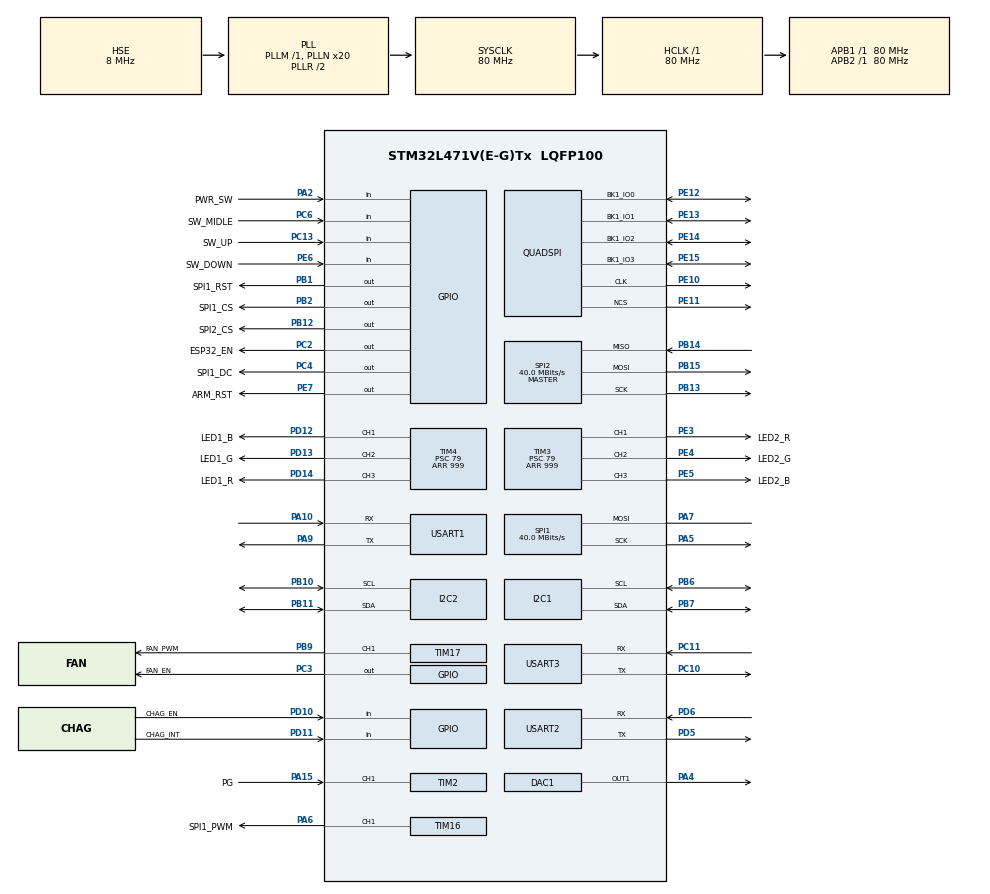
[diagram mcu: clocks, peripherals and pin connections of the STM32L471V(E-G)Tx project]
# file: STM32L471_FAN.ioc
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Dma.Request0=USART2_RX
Dma.Request1=SPI1_TX
Dma.SPI1_TX.1.Direction=DMA_MEMORY_TO_PERIPH
Dma.SPI1_TX.1.Instance=DMA1_Channel3
Dma.SPI1_TX.1.MemDataAlignment=DMA_MDATAALIGN_BYTE
Dma.SPI1_TX.1.MemInc=DMA_MINC_ENABLE
Dma.SPI1_TX.1.Mode=DMA_NORMAL
Dma.SPI1_TX.1.PeriphDataAlignment=DMA_PDATAALIGN_BYTE
Dma.SPI1_TX.1.PeriphInc=DMA_PINC_DISABLE
Dma.SPI1_TX.1.Priority=DMA_PRIORITY_LOW
Dma.USART2_RX.0.Direction=DMA_PERIPH_TO_MEMORY
Dma.USART2_RX.0.Instance=DMA1_Channel6
Dma.USART2_RX.0.MemDataAlignment=DMA_MDATAALIGN_BYTE
Dma.USART2_RX.0.MemInc=DMA_MINC_ENABLE
Dma.USART2_RX.0.Mode=DMA_CIRCULAR
Dma.USART2_RX.0.PeriphDataAlignment=DMA_PDATAALIGN_BYTE
Dma.USART2_RX.0.PeriphInc=DMA_PINC_DISABLE
Dma.USART2_RX.0.Priority=DMA_PRIORITY_HIGH
I2C1.Timing=0x10D1193B
I2C2.Timing=0x10D1193B
LPTIM1.ClockPrescaler=LPTIM_PRESCALER_DIV128
Mcu.Family=STM32L4
Mcu.Name=STM32L471V(E-G)Tx
Mcu.Package=LQFP100
NVIC.DMA1_Channel3_IRQn=true\:6\:0\:true\:false\:true\:false\:true\:true
NVIC.DMA1_Channel6_IRQn=true\:5\:0\:true\:false\:true\:false\:true\:true
QUADSPI.ChipSelectHighTime=QSPI_CS_HIGH_TIME_4_CYCLE
QUADSPI.ClockPrescaler=1
QUADSPI.FifoThreshold=4
QUADSPI.FlashSize=22
QUADSPI.SampleShifting=QSPI_SAMPLE_SHIFTING_HALFCYCLE
NVIC.LPTIM1_IRQn=true\:5\:0\:true\:false\:true\:true\:true\:true
NVIC.PriorityGroup=NVIC_PRIORITYGROUP_4
NVIC.SPI1_IRQn=true\:5\:0\:true\:false\:true\:true\:true\:true
NVIC.TIM1_TRG_COM_TIM17_IRQn=true\:5\:0\:true\:false\:true\:true\:true\:true
NVIC.TIM1_UP_TIM16_IRQn=true\:5\:0\:true\:false\:true\:true\:true\:true
NVIC.TIM2_IRQn=true\:5\:0\:true\:false\:true\:true\:true\:true
NVIC.TIM6_DAC_IRQn=true\:5\:0\:true\:false\:true\:true\:true\:true
NVIC.TimeBase=TIM6_DAC_IRQn
NVIC.TimeBaseIP=TIM6
NVIC.USART2_IRQn=true\:5\:0\:true\:false\:true\:true\:true\:true
PA0.Mode=SYS_WakeUp0
PA0.Signal=SYS_WKUP1
PA10.GPIO_PuPd=GPIO_PULLUP
PA10.Mode=Asynchronous
PA10.Signal=USART1_RX
PA13\ (JTMS-SWDIO).Mode=Serial_Wire
PA13\ (JTMS-SWDIO).Signal=SYS_JTMS-SWDIO
PA14\ (JTCK-SWCLK).Mode=Serial_Wire
PA14\ (JTCK-SWCLK).Signal=SYS_JTCK-SWCLK
PA15\ (JTDI).GPIO_Label=PG
PA15\ (JTDI).GPIO_Speed=GPIO_SPEED_FREQ_MEDIUM
PA15\ (JTDI).Signal=S_TIM2_CH1
PA2.GPIO_Label=PWR_SW
PA2.GPIO_PuPd=GPIO_PULLUP
PA2.Signal=GPIO_Input
PA4.Signal=COMP_DAC11_group
PA5.Mode=Simplex_Bidirectional_Master
PA5.Signal=SPI1_SCK
PA6.GPIO_Label=SPI1_PWM
PA6.Signal=S_TIM16_CH1
PA7.Mode=Simplex_Bidirectional_Master
PA7.Signal=SPI1_MOSI
PA9.Mode=Asynchronous
PA9.Signal=USART1_TX
PB1.GPIO_Label=SPI1_RST
PB1.GPIO_Speed=GPIO_SPEED_FREQ_HIGH
PB1.PinState=GPIO_PIN_SET
PB1.Signal=GPIO_Output
PB10.Mode=I2C
PB10.Signal=I2C2_SCL
PB11.Mode=I2C
PB11.Signal=I2C2_SDA
PB12.GPIO_Label=SPI2_CS
PB12.PinState=GPIO_PIN_SET
PB12.Signal=GPIO_Output
PB13.Mode=Full_Duplex_Master
PB13.Signal=SPI2_SCK
PB14.Mode=Full_Duplex_Master
PB14.Signal=SPI2_MISO
PB15.Mode=Full_Duplex_Master
PB15.Signal=SPI2_MOSI
PB2.GPIO_Label=SPI1_CS
PB2.GPIO_Speed=GPIO_SPEED_FREQ_HIGH
PB2.PinState=GPIO_PIN_SET
PB2.Signal=GPIO_Output
PB6.Mode=I2C
PB6.Signal=I2C1_SCL
PB7.Mode=I2C
PB7.Signal=I2C1_SDA
PB9.GPIO_Label=FAN_PWM
PB9.GPIO_Speed=GPIO_SPEED_FREQ_MEDIUM
PB9.Signal=S_TIM17_CH1
PC10.Mode=Asynchronous
PC10.Signal=USART3_TX
PC11.GPIO_PuPd=GPIO_PULLUP
PC11.Mode=Asynchronous
PC11.Signal=USART3_RX
PC13.GPIO_Label=SW_UP
PC13.GPIO_PuPd=GPIO_PULLUP
PC13.Signal=GPIO_Input
PC14-OSC32_IN\ (PC14).Mode=LSE-External-Oscillator
PC14-OSC32_IN\ (PC14).Signal=RCC_OSC32_IN
PC15-OSC32_OUT\ (PC15).Mode=LSE-External-Oscillator
PC15-OSC32_OUT\ (PC15).Signal=RCC_OSC32_OUT
PC2.GPIO_Label=ESP32_EN
PC2.GPIO_PuPd=GPIO_NOPULL
PC2.PinState=GPIO_PIN_SET
PC2.Signal=GPIO_Output
PC3.GPIO_Label=FAN_EN
PC3.PinState=GPIO_PIN_SET
PC3.Signal=GPIO_Output
PC4.GPIO_Label=SPI1_DC
PC4.GPIO_Speed=GPIO_SPEED_FREQ_HIGH
PC4.PinState=GPIO_PIN_SET
PC4.Signal=GPIO_Output
PC6.GPIO_Label=SW_MIDLE
PC6.GPIO_PuPd=GPIO_PULLUP
PC6.Signal=GPIO_Input
PD10.GPIO_Label=CHAG_EN
PD10.Signal=GPIO_Input
PD11.GPIO_Label=CHAG_INT
PD11.Signal=GPIO_Input
PD12.GPIO_Label=LED1_B
PD12.Signal=S_TIM4_CH1
PD13.GPIO_Label=LED1_G
PD13.Signal=S_TIM4_CH2
PD14.GPIO_Label=LED1_R
PD14.Signal=S_TIM4_CH3
PD5.Mode=Asynchronous
PD5.Signal=USART2_TX
PD6.GPIO_PuPd=GPIO_PULLUP
PD6.Mode=Asynchronous
PD6.Signal=USART2_RX
PE10.Mode=Single Bank
PE10.Signal=QUADSPI_CLK
PE11.Mode=Single Bank
PE11.Signal=QUADSPI_NCS
PE12.Mode=Single Bank
PE12.Signal=QUADSPI_BK1_IO0
PE13.Mode=Single Bank
PE13.Signal=QUADSPI_BK1_IO1
PE14.Mode=Single Bank
PE14.Signal=QUADSPI_BK1_IO2
PE15.Mode=Single Bank
PE15.Signal=QUADSPI_BK1_IO3
PE3.GPIO_Label=LED2_R
PE3.Signal=S_TIM3_CH1
PE4.GPIO_Label=LED2_G
PE4.Signal=S_TIM3_CH2
PE5.GPIO_Label=LED2_B
PE5.Signal=S_TIM3_CH3
PE6.GPIO_Label=SW_DOWN
PE6.GPIO_PuPd=GPIO_PULLUP
PE6.Signal=GPIO_Input
PE7.GPIO_Label=ARM_RST
PE7.Signal=GPIO_Output
PH0-OSC_IN\ (PH0).Mode=HSE-External-Oscillator
PH0-OSC_IN\ (PH0).Signal=RCC_OSC_IN
PH1-OSC_OUT\ (PH1).Mode=HSE-External-Oscillator
PH1-OSC_OUT\ (PH1).Signal=RCC_OSC_OUT
ProjectManager.HeapSize=0x1000
ProjectManager.StackSize=0x800
ProjectManager.TargetToolchain=MDK-ARM V5.32
RCC.ADCFreq_Value=64000000
RCC.AHBFreq_Value=80000000
RCC.APB1Freq_Value=80000000
RCC.APB1TimFreq_Value=80000000
RCC.APB2Freq_Value=80000000
RCC.APB2TimFreq_Value=80000000
RCC.CortexFreq_Value=80000000
RCC.HCLKFreq_Value=80000000
RCC.HSE_VALUE=8000000
RCC.HSI_VALUE=16000000
RCC.LPTIM1CLockSelection=RCC_LPTIM1CLKSOURCE_LSE
RCC.MSI_VALUE=4000000
RCC.PLLN=20
RCC.PLLSAI1N=16
RCC.PLLSourceVirtual=RCC_PLLSOURCE_HSE
RCC.RTCClockSelection=RCC_RTCCLKSOURCE_LSE
RCC.SYSCLKFreq_VALUE=80000000
RCC.SYSCLKSource=RCC_SYSCLKSOURCE_PLLCLK
RCC.VCOOutputFreq_Value=160000000
SH.COMP_DAC11_group.0=DAC1_OUT1,DAC_OUT1_ExtAndInt
SH.S_TIM16_CH1.0=TIM16_CH1,PWM Generation1 CH1
SH.S_TIM17_CH1.0=TIM17_CH1,PWM Generation1 CH1
SH.S_TIM2_CH1.0=TIM2_CH1,Input_Capture1_from_TI1
SH.S_TIM3_CH1.0=TIM3_CH1,PWM Generation1 CH1
SH.S_TIM3_CH2.0=TIM3_CH2,PWM Generation2 CH2
SH.S_TIM3_CH3.0=TIM3_CH3,PWM Generation3 CH3
SH.S_TIM4_CH1.0=TIM4_CH1,PWM Generation1 CH1
SH.S_TIM4_CH2.0=TIM4_CH2,PWM Generation2 CH2
SH.S_TIM4_CH3.0=TIM4_CH3,PWM Generation3 CH3
SPI1.BaudRatePrescaler=SPI_BAUDRATEPRESCALER_2
SPI1.CalculateBaudRate=40.0 MBits/s
SPI1.DataSize=SPI_DATASIZE_8BIT
SPI1.Direction=SPI_DIRECTION_1LINE
SPI1.Mode=SPI_MODE_MASTER
SPI1.VirtualType=VM_MASTER
SPI2.CalculateBaudRate=40.0 MBits/s
SPI2.DataSize=SPI_DATASIZE_8BIT
SPI2.Direction=SPI_DIRECTION_2LINES
SPI2.Mode=SPI_MODE_MASTER
SPI2.VirtualType=VM_MASTER
TIM16.AutoReloadPreload=TIM_AUTORELOAD_PRELOAD_ENABLE
TIM16.Channel=TIM_CHANNEL_1
TIM16.Period=3332
TIM16.Prescaler=7
TIM17.AutoReloadPreload=TIM_AUTORELOAD_PRELOAD_ENABLE
TIM17.Channel=TIM_CHANNEL_1
TIM17.Period=3199
TIM17.Prescaler=99
TIM17.Pulse=1120
TIM2.Channel-Input_Capture1_from_TI1=TIM_CHANNEL_1
TIM2.Prescaler=79
TIM3.AutoReloadPreload=TIM_AUTORELOAD_PRELOAD_ENABLE
TIM3.Channel-PWM\ Generation1\ CH1=TIM_CHANNEL_1
TIM3.Channel-PWM\ Generation2\ CH2=TIM_CHANNEL_2
TIM3.Channel-PWM\ Generation3\ CH3=TIM_CHANNEL_3
TIM3.Period=999
TIM3.Prescaler=79
TIM3.Pulse-PWM\ Generation1\ CH1=500
TIM3.Pulse-PWM\ Generation2\ CH2=500
TIM4.AutoReloadPreload=TIM_AUTORELOAD_PRELOAD_ENABLE
TIM4.Channel-PWM\ Generation1\ CH1=TIM_CHANNEL_1
TIM4.Channel-PWM\ Generation2\ CH2=TIM_CHANNEL_2
TIM4.Channel-PWM\ Generation3\ CH3=TIM_CHANNEL_3
TIM4.Period=999
TIM4.Prescaler=79
TIM4.Pulse-PWM\ Generation1\ CH1=500
TIM4.Pulse-PWM\ Generation2\ CH2=500
USART1.VirtualMode-Asynchronous=VM_ASYNC
USART2.SwapParam=ADVFEATURE_SWAP_DISABLE
USART2.VirtualMode-Asynchronous=VM_ASYNC
USART3.VirtualMode-Asynchronous=VM_ASYNC
VP_LPTIM1_VS_LPTIM_counterModeInternalClock.Mode=Counts__internal_clock_event_00
VP_RTC_VS_RTC_Activate.Mode=RTC_Enabled
VP_RTC_VS_RTC_WakeUp_intern.Mode=WakeUp
VP_SYS_VS_tim6.Mode=TIM6
VP_TIM16_VS_ClockSourceINT.Mode=Enable_Timer
VP_TIM17_VS_ClockSourceINT.Mode=Enable_Timer
VP_TIM2_VS_ClockSourceINT.Mode=Internal
VP_TIM3_VS_ClockSourceINT.Mode=Internal
VP_TIM4_VS_ClockSourceINT.Mode=Internal
board=custom

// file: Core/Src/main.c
/* USER CODE BEGIN Header */
/**
  ******************************************************************************
  * @file           : main.c
  * @brief          : Main program body
  ******************************************************************************
  * @attention
  *
  * Copyright (c) 2026 STMicroelectronics.
  * All rights reserved.
  *
  * This software is licensed under terms that can be found in the LICENSE file
  * in the root directory of this software component.
  * If no LICENSE file comes with this software, it is provided AS-IS.
  *
  ******************************************************************************
  */
/* USER CODE END Header */
#include "main.h"
#include "dac.h"
#include "dma.h"
#include "i2c.h"
#include "lptim.h"
#include "quadspi.h"
#include "rtc.h"
#include "spi.h"
#include "tim.h"
#include "usart.h"
#include "gpio.h"

/* USER CODE BEGIN Includes */
#include "FreeRTOS.h"
#include "task.h"
#include "user_TasksInit.h"
// #include "log.h"
// #include "multi_led.h"
// #include "lcd.h"
// #include "lcd_init.h"
// #include "app_sensors.h"

/* USER CODE END Includes */

void SystemClock_Config(void);

/* USER CODE BEGIN 0 */
// 定义上下文
// void Print_AllSensors(void);

/* USER CODE END 0 */

int main(void)
{

  /* MCU Configuration--------------------------------------------------------*/

  /* Reset of all peripherals, Initializes the Flash interface and the Systick. */
  HAL_Init();

  /* Configure the system clock */
  SystemClock_Config();

  /* Initialize all configured peripherals */
  MX_GPIO_Init();
  MX_DMA_Init();
  MX_DAC1_Init();
  MX_USART1_UART_Init();
  MX_USART2_UART_Init();
  MX_USART3_UART_Init();
  MX_SPI1_Init();
  MX_TIM4_Init();
  MX_I2C2_Init();
  MX_I2C1_Init();
  MX_TIM3_Init();
  MX_TIM17_Init();
  MX_LPTIM1_Init();
  MX_QUADSPI_Init();
  MX_RTC_Init();
  MX_SPI2_Init();
  MX_TIM2_Init();
  MX_TIM16_Init();
  /* USER CODE BEGIN 2 */
  User_Tasks_Init();
  vTaskStartScheduler();
  Error_Handler();

#if 0

// log_printf("system start");
// HAL_TIM_Base_Start_IT(&htim6); // 启动定时器 6 的中断驱动led
//     LED_Driver_System_Init();
// LED_Object_t led_blue;  // PE3 -> TIM3_CH1
// LED_Object_t led_green; // PE4 -> TIM3_CH2
// LED_Object_t led_red;   // PE5 -> TIM3_CH3
//     LED_Driver_Init(&led_green, LED1_G_GPIO_Port, LED1_G_Pin, &htim4, TIM_CHANNEL_2, 1);
//     LED_Driver_Init(&led_blue, LED1_B_GPIO_Port, LED1_B_Pin, &htim4, TIM_CHANNEL_1, 1);
//     LED_Driver_Init(&led_red, LED1_R_GPIO_Port, LED1_R_Pin, &htim4, TIM_CHANNEL_3, 1);
//     LED_Driver_SendCmd(&led_blue, LED_MODE_PWM, LED_Heartbeat_Handler, 2000, 0, NULL);
//     LED_Driver_SendCmd(&led_green, LED_MODE_PWM, LED_Heartbeat_Handler, 2000, 0, NULL);
//     LED_Driver_SendCmd(&led_red, LED_MODE_PWM, LED_Heartbeat_Handler, 2000, 0, NULL);

// LED_Object_t led2_blue;  // PE3 -> TIM3_CH1
// LED_Object_t led2_green; // PE4 -> TIM3_CH2
// LED_Object_t led2_red;   // PE5 -> TIM3_CH3
//     LED_Driver_Init(&led2_green, LED2_G_GPIO_Port, LED2_G_Pin, &htim3, TIM_CHANNEL_2, 1);
//     LED_Driver_Init(&led2_blue, LED2_B_GPIO_Port, LED2_B_Pin, &htim3, TIM_CHANNEL_1, 1);
//     LED_Driver_Init(&led2_red, LED2_R_GPIO_Port, LED2_R_Pin, &htim3, TIM_CHANNEL_3, 1);
//     LED_Driver_SendCmd(&led2_blue, LED_MODE_PWM, LED_Heartbeat_Handler, 2000, 0, NULL);
//     LED_Driver_SendCmd(&led2_green, LED_MODE_PWM, LED_Heartbeat_Handler, 2000, 0, NULL);
//     LED_Driver_SendCmd(&led2_red, LED_MODE_PWM, LED_Heartbeat_Handler, 2000, 0, NULL);

// HAL_TIM_PWM_Start(&htim17, TIM_CHANNEL_1);//启动风扇
// HAL_Delay(10);
// /* 初始 35% */
// __HAL_TIM_SET_COMPARE(&htim17, TIM_CHANNEL_1, 1120);

LCD_Init();
// 1. 设置背景色为黑色，清屏（可选）
    LCD_Fill(0, 0, LCD_W, LCD_H, BLACK);

    // 2. 定义显示参数
    uint16_t x = 10;      // 起始 X 坐标
    uint16_t y = 10;      // 起始 Y 坐标
    uint16_t font_color = WHITE;  // 字体颜色
    uint16_t bg_color = BLACK;    // 背景颜色
    uint16_t font_size = 16;      // 字体大小（对应 ASCII 字模库）
    uint8_t mode = 0;             // 模式（通常 0 为覆盖模式，1 为叠加模式）

    // 3. 显示英文字符串
    // 注意：确保 LCD_ShowChar 内部正确支持你传入的 sizey
    LCD_ShowString(x, y, "Hello World!", font_color, bg_color, font_size, mode);

    // 4. 显示下一行
    LCD_ShowString(x, y + 20, "STM32 Driver", font_color, bg_color, font_size, mode);

// HAL_GPIO_WritePin(FAN_EN_GPIO_Port, FAN_EN_Pin, GPIO_PIN_SET); // 打开风扇

// // 2. 传感器系统初始化
//     if (APP_Sensors_Init() == 0) {
//         log_printf("All sensors initialized successfully!\n");
//     } else {
//         log_printf("Sensor initialization failed!\n");
//     }
// APP_Sensors_Init();

#endif
  /* USER CODE END 2 */

  /* Infinite loop */
  while (1)
  {

    /* USER CODE BEGIN 3 */
// APP_Sensors_Update();  // 更新传感器数据
// Print_AllSensors();
//     HAL_Delay(2000);

//     __HAL_TIM_SET_COMPARE(&htim17, TIM_CHANNEL_1, 1600); // 50%
//     HAL_Delay(2000);
//     __HAL_TIM_SET_COMPARE(&htim17, TIM_CHANNEL_1, 2000); // 50%
//     HAL_Delay(2000);
//         __HAL_TIM_SET_COMPARE(&htim17, TIM_CHANNEL_1, 2400); // 50%
//     HAL_Delay(2000);
//     __HAL_TIM_SET_COMPARE(&htim17, TIM_CHANNEL_1, 2800); // 90%
//     HAL_Delay(2000);
//     __HAL_TIM_SET_COMPARE(&htim17, TIM_CHANNEL_1, 2400); // 50%
//     HAL_Delay(2000);
//     __HAL_TIM_SET_COMPARE(&htim17, TIM_CHANNEL_1, 2000); // 50%
//     HAL_Delay(2000);
//         __HAL_TIM_SET_COMPARE(&htim17, TIM_CHANNEL_1, 1600); // 50%
//     HAL_Delay(2000);
  }
  /* USER CODE END 3 */
}

void SystemClock_Config(void)
{
  RCC_OscInitTypeDef RCC_OscInitStruct = {0};
  RCC_ClkInitTypeDef RCC_ClkInitStruct = {0};

  /** Configure the main internal regulator output voltage
  */
  if (HAL_PWREx_ControlVoltageScaling(PWR_REGULATOR_VOLTAGE_SCALE1) != HAL_OK)
  {
    Error_Handler();
  }

  /** Configure LSE Drive Capability
  */
  HAL_PWR_EnableBkUpAccess();
  __HAL_RCC_LSEDRIVE_CONFIG(RCC_LSEDRIVE_LOW);

  /** Initializes the RCC Oscillators according to the specified parameters
  * in the RCC_OscInitTypeDef structure.
  */
  RCC_OscInitStruct.OscillatorType = RCC_OSCILLATORTYPE_HSE|RCC_OSCILLATORTYPE_LSE;
  RCC_OscInitStruct.HSEState = RCC_HSE_ON;
  RCC_OscInitStruct.LSEState = RCC_LSE_ON;
  RCC_OscInitStruct.PLL.PLLState = RCC_PLL_ON;
  RCC_OscInitStruct.PLL.PLLSource = RCC_PLLSOURCE_HSE;
  RCC_OscInitStruct.PLL.PLLM = 1;
  RCC_OscInitStruct.PLL.PLLN = 20;
  RCC_OscInitStruct.PLL.PLLP = RCC_PLLP_DIV7;
  RCC_OscInitStruct.PLL.PLLQ = RCC_PLLQ_DIV2;
  RCC_OscInitStruct.PLL.PLLR = RCC_PLLR_DIV2;
  if (HAL_RCC_OscConfig(&RCC_OscInitStruct) != HAL_OK)
  {
    Error_Handler();
  }

  /** Initializes the CPU, AHB and APB buses clocks
  */
  RCC_ClkInitStruct.ClockType = RCC_CLOCKTYPE_HCLK|RCC_CLOCKTYPE_SYSCLK
                              |RCC_CLOCKTYPE_PCLK1|RCC_CLOCKTYPE_PCLK2;
  RCC_ClkInitStruct.SYSCLKSource = RCC_SYSCLKSOURCE_PLLCLK;
  RCC_ClkInitStruct.AHBCLKDivider = RCC_SYSCLK_DIV1;
  RCC_ClkInitStruct.APB1CLKDivider = RCC_HCLK_DIV1;
  RCC_ClkInitStruct.APB2CLKDivider = RCC_HCLK_DIV1;

  if (HAL_RCC_ClockConfig(&RCC_ClkInitStruct, FLASH_LATENCY_4) != HAL_OK)
  {
    Error_Handler();
  }
}

/* USER CODE BEGIN 4 */

// /* =========================
//  * Charger 状态解析
//  * ========================= */
// static const char* bq_state_str(bq24295_state_t s)
// {
//     switch (s)
//     {
//         case BQ_CHG_IDLE:         return "IDLE";
//         case BQ_CHG_PRECHARGE:    return "PRECHG";
//         case BQ_CHG_FAST_CHARGE:  return "FAST_CHG";
//         case BQ_CHG_DONE:         return "DONE";
//         case BQ_CHG_SUSPEND:      return "SUSPEND";
//         case BQ_CHG_FAULT:        return "FAULT";
//         default:                  return "UNKNOWN";
//     }
// }

// /* =========================
//  * Charger 打印
//  * ========================= */
// void Print_Charger(bq24295_module_t *m)
// {
//     log_printf("\r\n[CHARGER]\r\n");

//     log_printf("REG08 Status : 0x%02X\r\n", m->reg_status);
//     log_printf("REG09 Fault  : 0x%02X\r\n", m->reg_fault);

//     log_printf("State        : %s\r\n", bq_state_str(m->state));

//     log_printf("Charging     : %s\r\n", m->charging ? "YES" : "NO");
//     log_printf("PowerGood    : %s\r\n", m->power_good ? "YES" : "NO");
//     log_printf("InputPresent : %s\r\n", m->input_present ? "YES" : "NO");

//     log_printf("I_LIMIT      : %d mA\r\n", m->vin_limit_mA);
//     log_printf("I_CHG        : %d mA\r\n", m->ichg_mA);
//     log_printf("V_REG        : %d mV\r\n", m->vreg_mV);

//     log_printf("Fault(Therm) : %s\r\n", m->fault_thermal ? "YES" : "NO");
//     log_printf("Fault(Timer) : %s\r\n", m->fault_timer ? "YES" : "NO");
//     log_printf("Fault(WD)    : %s\r\n", m->fault_watchdog ? "YES" : "NO");
//     log_printf("Fault(Input) : %s\r\n", m->fault_input ? "YES" : "NO");
// }

// /* =========================
//  * INA226
//  * ========================= */
// void Print_INA226(ina226_module_t *m)
// {
//     log_printf("\r\n[INA226]\r\n");
//     log_printf("Voltage : %.2f mV\r\n", m->voltage);
//     log_printf("Current : %.2f mA\r\n", m->current);
//     log_printf("Power   : %.2f mW\r\n", m->power);
// }

// /* =========================
//  * Battery
//  * ========================= */
// void Print_Battery(battery_module_t *m)
// {
//     log_printf("\r\n[BATTERY]\r\n");
//     log_printf("SOC     : %.1f %%\r\n", m->soc);
//     log_printf("Voltage : %.2f V\r\n", m->voltage);
// }

// /* =========================
//  * ENV
//  * ========================= */
// void Print_Env(env_module_t *m)
// {
//     log_printf("\r\n[ENV]\r\n");
//     log_printf("Temp : %.2f C\r\n", m->temp);
//     log_printf("Hum  : %.2f %%\r\n", m->hum);
// }

// /* =========================
//  * Motion
//  * ========================= */
// void Print_Motion(motion_module_t *m)
// {
//     log_printf("\r\n[MOTION]\r\n");
//     log_printf("X:%d Y:%d Z:%d\r\n", m->x, m->y, m->z);
// }

/* =========================
 * 一键总打印
 * ========================= */
// void Print_AllSensors(void)
// {

//     log_printf("\r\n----------------------\r\n");
// }
/* USER CODE END 4 */

void HAL_TIM_PeriodElapsedCallback(TIM_HandleTypeDef *htim)
{
  /* USER CODE BEGIN Callback 0 */
    // if (htim->Instance == TIM6)
    // {

    //     static uint16_t cnt = 0;
    //     cnt++;
    //     if(cnt >= 10)  // 每 10ms 执行一次
    //     {
    //         cnt = 0;

    //        LED_Driver_Update();;
    //     }

    // }
  /* USER CODE END Callback 0 */
  if (htim->Instance == TIM6)
  {
    HAL_IncTick();
  }
}

void Error_Handler(void)
{
  __disable_irq();
  while (1)
  {
  }
}

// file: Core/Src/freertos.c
/* USER CODE BEGIN Header */
/**
  ******************************************************************************
  * File Name          : freertos.c
  * Description        : Code for freertos applications
  ******************************************************************************
  * @attention
  *
  * Copyright (c) 2026 STMicroelectronics.
  * All rights reserved.
  *
  * This software is licensed under terms that can be found in the LICENSE file
  * in the root directory of this software component.
  * If no LICENSE file comes with this software, it is provided AS-IS.
  *
  ******************************************************************************
  */
/* USER CODE END Header */

#include "FreeRTOS.h"
#include "task.h"
#include "main.h"
#include "cmsis_os.h"

/* USER CODE BEGIN Includes */
#include "log.h"
#include "user_TasksInit.h"
/* USER CODE END Includes */

/* Definitions for defaultTask */
osThreadId_t defaultTaskHandle;
const osThreadAttr_t defaultTask_attributes = {
  .name = "defaultTask",
  .stack_size = 128 * 4,
  .priority = (osPriority_t) osPriorityNormal,
};

void StartDefaultTask(void *argument);

void MX_FREERTOS_Init(void); /* (MISRA C 2004 rule 8.1) */

void MX_FREERTOS_Init(void) {
  /* USER CODE BEGIN Init */
  User_Tasks_Init();
  /* USER CODE END Init */

  /* Create the thread(s) */
  /* creation of defaultTask */
  defaultTaskHandle = osThreadNew(StartDefaultTask, NULL, &defaultTask_attributes);

}

void StartDefaultTask(void *argument)
{
  /* USER CODE BEGIN StartDefaultTask */
  /* Infinite loop */
  for(;;)
  {
    log_printf("system start\n");
    osDelay(3000);
  }
  /* USER CODE END StartDefaultTask */
}
